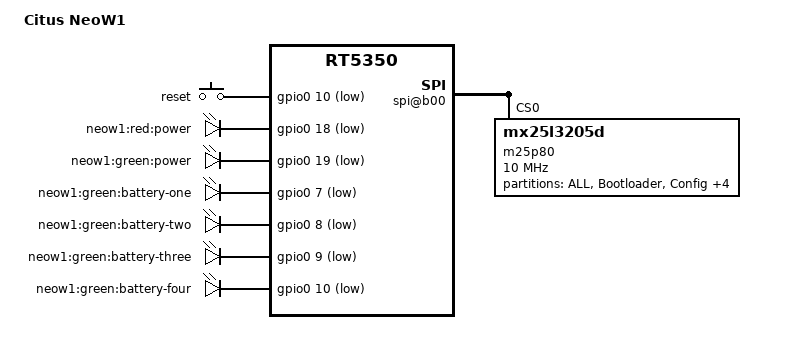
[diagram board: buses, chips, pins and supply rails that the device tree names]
/dts-v1/;

/include/ "rt5350.dtsi"

/ {
	compatible = "NeoW1", "ralink,rt5350-soc";
	model = "Citus NeoW1";

        chosen {
                bootargs = "console=ttyS1,57600n8";
        };

	palmbus@10000000 {
		spi@b00 {
			status = "okay";
			m25p80@0 {
				#address-cells = <1>;
				#size-cells = <1>;
				compatible = "mx25l3205d";
				reg = <0 0>;
				linux,modalias = "m25p80", "mx25l3205d";
				spi-max-frequency = <10000000>;

				partition@0 {
					label = "ALL";
					reg = <0x0 0x80000>;
				};

				partition@1 {
					label = "Bootloader";
					reg = <0x0 0x20000>;
					read-only;
				};

				partition@20000 {
					label = "Config";
					reg = <0x20000 0x20000>;
					read-only;
				};

				factory: partition@40000 {
					label = "Factory";
					reg = <0x40000 0x10000>;
					read-only;
				};

				partition@50000 {
					label = "Kernel_RootFS";
					reg = <0x50000 0x7B0000>;
				};

				partition@50001 {
					label = "Kernel";
					reg = <0x50000 0x1334AA>;
				};

				partition@1834aa {
					label = "RootFS";
					reg = <0x1834aa 0x67CB56>;
				};
			};
		};
	};

	pinctrl {
		state_default: pinctrl0 {
			gpio {
				ralink,group = "i2c", "uartf";
				ralink,function = "gpio";
			};
		};
	};

	ethernet@10100000 {
		mtd-mac-address = <&factory 0x28>;
	};

	esw@10110000 {
		ralink,portmap = <0x3f>;
	};

	wmac@10180000 {
		ralink,mtd-eeprom = <&factory 0>;
	};

	gpio-keys-polled {
		compatible = "gpio-keys-polled";
		#address-cells = <1>;
		#size-cells = <0>;
		poll-interval = <20>;
		reset {
			label = "reset";
			gpios = <&gpio0 10 1>;
			linux,code = <0x198>;
		};
	};

	gpio-leds {
		compatible = "gpio-leds";
		red {
			label = "neow1:red:power";
			gpios = <&gpio0 18 1>;
		};
		green {
			label = "neow1:green:power";
			gpios = <&gpio0 19 1>;
		};
		battery-one {
			label = "neow1:green:battery-one";
			gpios = <&gpio0 7 1>;
		};
		battery-two {
			label = "neow1:green:battery-two";
			gpios = <&gpio0 8 1>;
		};
		battery-three {
			label = "neow1:green:battery-three";
			gpios = <&gpio0 9 1>;
		};
		battery-four {
			label = "neow1:green:battery-four";
			gpios = <&gpio0 10 1>;
		};
	};
};
